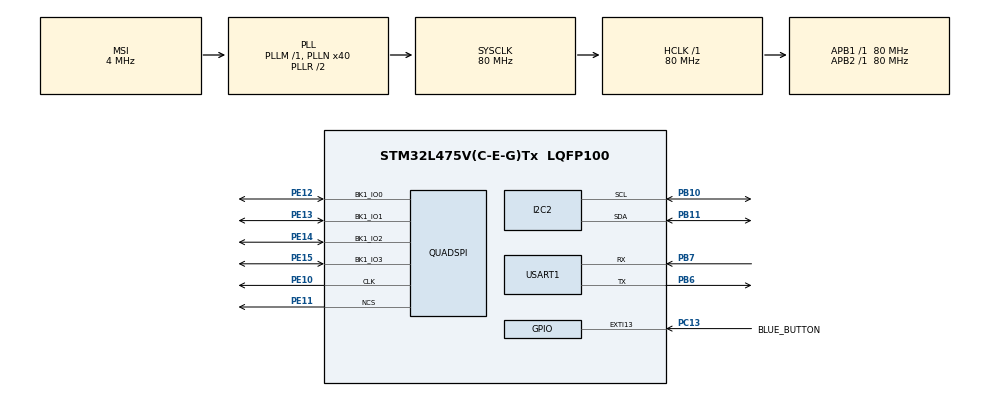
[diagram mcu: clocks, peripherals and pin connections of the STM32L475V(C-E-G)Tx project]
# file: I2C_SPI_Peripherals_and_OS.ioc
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FREERTOS.Tasks01=buttonTask,0,128,StartButtonTask,Default,NULL,Dynamic,NULL,NULL;TransmitUARTTas,0,256,StartTransmitUARTTask,Default,NULL,Dynamic,NULL,NULL;ReadSensorTask,0,256,StartReadSensorTask,Default,NULL,Dynamic,NULL,NULL
I2C2.Timing=0x10909CEC
Mcu.Family=STM32L4
Mcu.Name=STM32L475V(C-E-G)Tx
Mcu.Package=LQFP100
NVIC.EXTI15_10_IRQn=true\:5\:0\:false\:false\:true\:true\:true\:true\:true
NVIC.PriorityGroup=NVIC_PRIORITYGROUP_4
NVIC.TIM2_IRQn=true\:5\:0\:false\:false\:true\:true\:true\:true\:true
NVIC.TIM6_DAC_IRQn=true\:15\:0\:false\:false\:true\:false\:false\:true\:true
NVIC.TimeBase=TIM6_DAC_IRQn
NVIC.TimeBaseIP=TIM6
PB10.Mode=I2C
PB10.Signal=I2C2_SCL
PB11.Mode=I2C
PB11.Signal=I2C2_SDA
PB6.Mode=Asynchronous
PB6.Signal=USART1_TX
PB7.Mode=Asynchronous
PB7.Signal=USART1_RX
PC13.GPIO_Label=BLUE_BUTTON
PC13.Signal=GPXTI13
PE10.Mode=Single Bank
PE10.Signal=QUADSPI_CLK
PE11.Mode=Single Bank
PE11.Signal=QUADSPI_NCS
PE12.Mode=Single Bank
PE12.Signal=QUADSPI_BK1_IO0
PE13.Mode=Single Bank
PE13.Signal=QUADSPI_BK1_IO1
PE14.Mode=Single Bank
PE14.Signal=QUADSPI_BK1_IO2
PE15.Mode=Single Bank
PE15.Signal=QUADSPI_BK1_IO3
ProjectManager.HeapSize=0x200
ProjectManager.StackSize=0x400
ProjectManager.TargetToolchain=STM32CubeIDE
RCC.ADCFreq_Value=48000000
RCC.AHBFreq_Value=80000000
RCC.APB1Freq_Value=80000000
RCC.APB1TimFreq_Value=80000000
RCC.APB2Freq_Value=80000000
RCC.APB2TimFreq_Value=80000000
RCC.CortexFreq_Value=80000000
RCC.HCLKFreq_Value=80000000
RCC.HSE_VALUE=8000000
RCC.HSI_VALUE=16000000
RCC.LSE_VALUE=32768
RCC.MSI_VALUE=4000000
RCC.PLLN=40
RCC.PLLSAI1N=24
RCC.SYSCLKFreq_VALUE=80000000
RCC.SYSCLKSource=RCC_SYSCLKSOURCE_PLLCLK
RCC.USBFreq_Value=48000000
RCC.VCOOutputFreq_Value=160000000
TIM2.Period=2000
TIM2.Prescaler=4000
USART1.VirtualMode-Asynchronous=VM_ASYNC
VP_FREERTOS_VS_CMSIS_V1.Mode=CMSIS_V1
VP_SYS_VS_tim6.Mode=TIM6
VP_TIM2_VS_ClockSourceINT.Mode=Internal
board=B-L475E-IOT01A2

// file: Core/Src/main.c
/* USER CODE BEGIN Header */
/**
  ******************************************************************************
  * @file           : main.c
  * @brief          : Main program body
  ******************************************************************************
  * @attention
  *
  * Copyright (c) 2023 STMicroelectronics.
  * All rights reserved.
  *
  * This software is licensed under terms that can be found in the LICENSE file
  * in the root directory of this software component.
  * If no LICENSE file comes with this software, it is provided AS-IS.
  *
  ******************************************************************************
  */
/* USER CODE END Header */
#include "main.h"
#include "cmsis_os.h"

/* USER CODE BEGIN PD */
#define BLOCK_SIZE 64 * 1024 // 64 x 2^10
#define WRITE_BUFFER_SIZE 8
/* USER CODE END PD */

I2C_HandleTypeDef hi2c2;

QSPI_HandleTypeDef hqspi;

TIM_HandleTypeDef htim2;

UART_HandleTypeDef huart1;

osThreadId buttonTaskHandle;
osThreadId TransmitUARTTasHandle;
osThreadId ReadSensorTaskHandle;
/* USER CODE BEGIN PV */
char bufferUART[98];
uint8_t writeBufferNextIndex = 0;
uint8_t flashBuffer[BLOCK_SIZE]; // stores 1 block which is 64KB

enum ButtonStates
{
	NOT_PRESSED,
	PRESSED
};

enum ProgramStates
{
	TSENSOR,
	MAGNETO,
	PSENSOR,
	GYRO,
	STATISTIC,
	NOT_PRINTING
};

typedef struct
{
	uint32_t numerSample;
	float mean;
	float variance;
} Statistic_float;

typedef struct
{
	uint32_t numerSample;
	int16_t mean;
	int16_t variance;
} Statistic_int16;

typedef struct {
	uint32_t tsensor;
	uint32_t psensor;
	struct MagnetoAddresses {
		uint32_t x;
		uint32_t y;
		uint32_t z;
	}magneto;
	struct GyroAddresses {
		uint32_t x;
		uint32_t y;
		uint32_t z;
	}gyro;
} FlashSensorAddresses;

typedef struct {
	float tsensor[WRITE_BUFFER_SIZE];
	float psensor[WRITE_BUFFER_SIZE];
	struct MagnetoData {
		int16_t x[WRITE_BUFFER_SIZE];
		int16_t y[WRITE_BUFFER_SIZE];
		int16_t z[WRITE_BUFFER_SIZE];
	}magneto;
	struct GyroData {
		float x[WRITE_BUFFER_SIZE];
		float y[WRITE_BUFFER_SIZE];
		float z[WRITE_BUFFER_SIZE];
	}gyro;
} SensorData;

const FlashSensorAddresses FlashBlockStart = {
		.psensor = BLOCK_SIZE * 0,
		.tsensor = BLOCK_SIZE * 1,
		.gyro = {
				.x = BLOCK_SIZE * 2,
				.y = BLOCK_SIZE * 3,
				.z = BLOCK_SIZE * 4,
		},
		.magneto = {
				.x = BLOCK_SIZE * 5,
				.y = BLOCK_SIZE * 6,
				.z = BLOCK_SIZE * 7,
		},
};

FlashSensorAddresses currentAddress = {
		.psensor = BLOCK_SIZE * 0,
		.tsensor = BLOCK_SIZE * 1,
		.gyro = {
				.x = BLOCK_SIZE * 2,
				.y = BLOCK_SIZE * 3,
				.z = BLOCK_SIZE * 4,
		},
		.magneto = {
				.x = BLOCK_SIZE * 5,
				.y = BLOCK_SIZE * 6,
				.z = BLOCK_SIZE * 7,
		},
};

SensorData sensorData;

enum ButtonStates buttonState = NOT_PRESSED;
enum ProgramStates programState = NOT_PRINTING;

/* USER CODE END PV */

void SystemClock_Config(void);
static void MX_GPIO_Init(void);
static void MX_USART1_UART_Init(void);
static void MX_I2C2_Init(void);
static void MX_TIM2_Init(void);
static void MX_QUADSPI_Init(void);
void StartButtonTask(void const * argument);
void StartTransmitUARTTask(void const * argument);
void StartReadSensorTask(void const * argument);

/* USER CODE BEGIN 0 */
void clearFlashBlock(uint32_t blockAddress);
void clearFlashUsed(FlashSensorAddresses sensorAddresses);
void writeBuffToFlash(uint32_t* blockAddress, uint32_t blockStart, uint8_t* writeBuffer, uint32_t size);
void readFlashBlockToBuff(uint32_t* blockAddress, uint32_t blockStart, uint8_t* readBuffer, uint32_t size);
void readSensor(SensorData* sensorData);
void printStat();
void calculateStatInt16(uint32_t *currentSensorAddress, uint32_t flashBlockStart, Statistic_int16 *statistic);
void calculateStatFloat(uint32_t *currentSensorAddress, uint32_t flashBlockStart, Statistic_float *statistic);

/* USER CODE END 0 */

int main(void)
{

  /* MCU Configuration--------------------------------------------------------*/

  /* Reset of all peripherals, Initializes the Flash interface and the Systick. */
  HAL_Init();

  /* Configure the system clock */
  SystemClock_Config();

  /* Initialize all configured peripherals */
  MX_GPIO_Init();
  MX_USART1_UART_Init();
  MX_I2C2_Init();
  MX_TIM2_Init();
  MX_QUADSPI_Init();
  /* USER CODE BEGIN 2 */
  BSP_TSENSOR_Init();
  BSP_MAGNETO_Init();
  BSP_PSENSOR_Init();
  BSP_GYRO_Init();
  BSP_QSPI_Init();
  HAL_TIM_Base_Start_IT(&htim2);
  clearFlashUsed(FlashBlockStart);

  /* USER CODE END 2 */

  /* Create the thread(s) */
  /* definition and creation of buttonTask */
  osThreadDef(buttonTask, StartButtonTask, osPriorityNormal, 0, 128);
  buttonTaskHandle = osThreadCreate(osThread(buttonTask), NULL);

  /* definition and creation of TransmitUARTTas */
  osThreadDef(TransmitUARTTas, StartTransmitUARTTask, osPriorityNormal, 0, 256);
  TransmitUARTTasHandle = osThreadCreate(osThread(TransmitUARTTas), NULL);

  /* definition and creation of ReadSensorTask */
  osThreadDef(ReadSensorTask, StartReadSensorTask, osPriorityNormal, 0, 256);
  ReadSensorTaskHandle = osThreadCreate(osThread(ReadSensorTask), NULL);

  /* Start scheduler */
  osKernelStart();

  /* We should never get here as control is now taken by the scheduler */
  /* Infinite loop */
  while (1)
  {

  }
}

void SystemClock_Config(void)
{
  RCC_OscInitTypeDef RCC_OscInitStruct = {0};
  RCC_ClkInitTypeDef RCC_ClkInitStruct = {0};

  /** Configure the main internal regulator output voltage
  */
  if (HAL_PWREx_ControlVoltageScaling(PWR_REGULATOR_VOLTAGE_SCALE1) != HAL_OK)
  {
    Error_Handler();
  }

  /** Initializes the RCC Oscillators according to the specified parameters
  * in the RCC_OscInitTypeDef structure.
  */
  RCC_OscInitStruct.OscillatorType = RCC_OSCILLATORTYPE_MSI;
  RCC_OscInitStruct.MSIState = RCC_MSI_ON;
  RCC_OscInitStruct.MSICalibrationValue = 0;
  RCC_OscInitStruct.MSIClockRange = RCC_MSIRANGE_6;
  RCC_OscInitStruct.PLL.PLLState = RCC_PLL_ON;
  RCC_OscInitStruct.PLL.PLLSource = RCC_PLLSOURCE_MSI;
  RCC_OscInitStruct.PLL.PLLM = 1;
  RCC_OscInitStruct.PLL.PLLN = 40;
  RCC_OscInitStruct.PLL.PLLP = RCC_PLLP_DIV7;
  RCC_OscInitStruct.PLL.PLLQ = RCC_PLLQ_DIV2;
  RCC_OscInitStruct.PLL.PLLR = RCC_PLLR_DIV2;
  if (HAL_RCC_OscConfig(&RCC_OscInitStruct) != HAL_OK)
  {
    Error_Handler();
  }

  /** Initializes the CPU, AHB and APB buses clocks
  */
  RCC_ClkInitStruct.ClockType = RCC_CLOCKTYPE_HCLK|RCC_CLOCKTYPE_SYSCLK
                              |RCC_CLOCKTYPE_PCLK1|RCC_CLOCKTYPE_PCLK2;
  RCC_ClkInitStruct.SYSCLKSource = RCC_SYSCLKSOURCE_PLLCLK;
  RCC_ClkInitStruct.AHBCLKDivider = RCC_SYSCLK_DIV1;
  RCC_ClkInitStruct.APB1CLKDivider = RCC_HCLK_DIV1;
  RCC_ClkInitStruct.APB2CLKDivider = RCC_HCLK_DIV1;

  if (HAL_RCC_ClockConfig(&RCC_ClkInitStruct, FLASH_LATENCY_4) != HAL_OK)
  {
    Error_Handler();
  }
}

static void MX_I2C2_Init(void)
{

  hi2c2.Instance = I2C2;
  hi2c2.Init.Timing = 0x10909CEC;
  hi2c2.Init.OwnAddress1 = 0;
  hi2c2.Init.AddressingMode = I2C_ADDRESSINGMODE_7BIT;
  hi2c2.Init.DualAddressMode = I2C_DUALADDRESS_DISABLE;
  hi2c2.Init.OwnAddress2 = 0;
  hi2c2.Init.OwnAddress2Masks = I2C_OA2_NOMASK;
  hi2c2.Init.GeneralCallMode = I2C_GENERALCALL_DISABLE;
  hi2c2.Init.NoStretchMode = I2C_NOSTRETCH_DISABLE;
  if (HAL_I2C_Init(&hi2c2) != HAL_OK)
  {
    Error_Handler();
  }

  /** Configure Analogue filter
  */
  if (HAL_I2CEx_ConfigAnalogFilter(&hi2c2, I2C_ANALOGFILTER_ENABLE) != HAL_OK)
  {
    Error_Handler();
  }

  /** Configure Digital filter
  */
  if (HAL_I2CEx_ConfigDigitalFilter(&hi2c2, 0) != HAL_OK)
  {
    Error_Handler();
  }

}

static void MX_QUADSPI_Init(void)
{

  /* QUADSPI parameter configuration*/
  hqspi.Instance = QUADSPI;
  hqspi.Init.ClockPrescaler = 255;
  hqspi.Init.FifoThreshold = 1;
  hqspi.Init.SampleShifting = QSPI_SAMPLE_SHIFTING_NONE;
  hqspi.Init.FlashSize = 1;
  hqspi.Init.ChipSelectHighTime = QSPI_CS_HIGH_TIME_1_CYCLE;
  hqspi.Init.ClockMode = QSPI_CLOCK_MODE_0;
  if (HAL_QSPI_Init(&hqspi) != HAL_OK)
  {
    Error_Handler();
  }

}

static void MX_TIM2_Init(void)
{

  TIM_ClockConfigTypeDef sClockSourceConfig = {0};
  TIM_MasterConfigTypeDef sMasterConfig = {0};

  htim2.Instance = TIM2;
  htim2.Init.Prescaler = 4000;
  htim2.Init.CounterMode = TIM_COUNTERMODE_UP;
  htim2.Init.Period = 2000;
  htim2.Init.ClockDivision = TIM_CLOCKDIVISION_DIV1;
  htim2.Init.AutoReloadPreload = TIM_AUTORELOAD_PRELOAD_DISABLE;
  if (HAL_TIM_Base_Init(&htim2) != HAL_OK)
  {
    Error_Handler();
  }
  sClockSourceConfig.ClockSource = TIM_CLOCKSOURCE_INTERNAL;
  if (HAL_TIM_ConfigClockSource(&htim2, &sClockSourceConfig) != HAL_OK)
  {
    Error_Handler();
  }
  sMasterConfig.MasterOutputTrigger = TIM_TRGO_RESET;
  sMasterConfig.MasterSlaveMode = TIM_MASTERSLAVEMODE_DISABLE;
  if (HAL_TIMEx_MasterConfigSynchronization(&htim2, &sMasterConfig) != HAL_OK)
  {
    Error_Handler();
  }

}

static void MX_USART1_UART_Init(void)
{

  huart1.Instance = USART1;
  huart1.Init.BaudRate = 115200;
  huart1.Init.WordLength = UART_WORDLENGTH_8B;
  huart1.Init.StopBits = UART_STOPBITS_1;
  huart1.Init.Parity = UART_PARITY_NONE;
  huart1.Init.Mode = UART_MODE_TX_RX;
  huart1.Init.HwFlowCtl = UART_HWCONTROL_NONE;
  huart1.Init.OverSampling = UART_OVERSAMPLING_16;
  huart1.Init.OneBitSampling = UART_ONE_BIT_SAMPLE_DISABLE;
  huart1.AdvancedInit.AdvFeatureInit = UART_ADVFEATURE_NO_INIT;
  if (HAL_UART_Init(&huart1) != HAL_OK)
  {
    Error_Handler();
  }

}

static void MX_GPIO_Init(void)
{
  GPIO_InitTypeDef GPIO_InitStruct = {0};

  /* GPIO Ports Clock Enable */
  __HAL_RCC_GPIOC_CLK_ENABLE();
  __HAL_RCC_GPIOE_CLK_ENABLE();
  __HAL_RCC_GPIOB_CLK_ENABLE();

  /*Configure GPIO pin : BLUE_BUTTON_Pin */
  GPIO_InitStruct.Pin = BLUE_BUTTON_Pin;
  GPIO_InitStruct.Mode = GPIO_MODE_IT_RISING;
  GPIO_InitStruct.Pull = GPIO_NOPULL;
  HAL_GPIO_Init(BLUE_BUTTON_GPIO_Port, &GPIO_InitStruct);

  /* EXTI interrupt init*/
  HAL_NVIC_SetPriority(EXTI15_10_IRQn, 5, 0);
  HAL_NVIC_EnableIRQ(EXTI15_10_IRQn);

}

/* USER CODE BEGIN 4 */

/**
 * @overwrite
 * @brief interrupt service routine for GPIO
 */
void HAL_GPIO_EXTI_Callback(uint16_t GPIO_Pin)
{
	if (GPIO_Pin==BLUE_BUTTON_Pin)
	{
		buttonState = PRESSED;
	}
}

void clearFlashBlock(uint32_t flashBlockStart)
{
	if (BSP_QSPI_Erase_Block(flashBlockStart) != QSPI_OK)
	{
		Error_Handler();
	}
}

void clearFlashUsed(FlashSensorAddresses sensorAddresses)
{
	clearFlashBlock(sensorAddresses.gyro.x);
	clearFlashBlock(sensorAddresses.gyro.y);
	clearFlashBlock(sensorAddresses.gyro.z);
	clearFlashBlock(sensorAddresses.magneto.x);
	clearFlashBlock(sensorAddresses.magneto.y);
	clearFlashBlock(sensorAddresses.magneto.z);
	clearFlashBlock(sensorAddresses.psensor);
	clearFlashBlock(sensorAddresses.tsensor);
}

void writeBuffToFlash(uint32_t* blockAddress, uint32_t blockStart, uint8_t* writeBuffer, uint32_t size)
{
	if ((*blockAddress - blockStart) >= BLOCK_SIZE)
	{
		clearFlashBlock(blockStart);
		*blockAddress = blockStart;
	}

	if (BSP_QSPI_Write(writeBuffer, *blockAddress, size) != QSPI_OK)
	{
		Error_Handler();
	}
	*blockAddress += size;

}

void readFlashBlockToBuff(uint32_t* blockAddress, uint32_t blockStart, uint8_t* readBuffer, uint32_t size)
{
	uint8_t exitCode = BSP_QSPI_Read(readBuffer, blockStart, size);
	if (exitCode != QSPI_OK){
		Error_Handler();
	}
	*blockAddress = blockStart;
	clearFlashBlock(blockStart);
}

void readSensor(SensorData* sensorData)
{
	if (writeBufferNextIndex == WRITE_BUFFER_SIZE) {
		writeBufferNextIndex = 0;
	}

    sensorData->tsensor[writeBufferNextIndex] = BSP_TSENSOR_ReadTemp();

    int16_t magneto[3];
    BSP_MAGNETO_GetXYZ(magneto);
    sensorData->magneto.x[writeBufferNextIndex] = magneto[0];
    sensorData->magneto.y[writeBufferNextIndex] = magneto[1];
    sensorData->magneto.z[writeBufferNextIndex] = magneto[2];

    sensorData->psensor[writeBufferNextIndex] = BSP_PSENSOR_ReadPressure();

    float gyro[3];
    BSP_GYRO_GetXYZ(gyro);
    sensorData->gyro.x[writeBufferNextIndex] = gyro[0];
    sensorData->gyro.y[writeBufferNextIndex] = gyro[1];
    sensorData->gyro.z[writeBufferNextIndex] = gyro[2];

    writeBufferNextIndex++;
}

void printStat()
{

	Statistic_float statisticF;
	Statistic_int16 statisticI;

	// temp print calc
	calculateStatFloat(&(currentAddress.tsensor), FlashBlockStart.tsensor, &statisticF);
	memset(bufferUART, 0, sizeof(bufferUART)/sizeof(bufferUART[0]));
	sprintf(bufferUART, "temp: %ld, %.4f, %.10f\r\n", statisticF.numerSample, statisticF.mean, statisticF.variance);
	HAL_UART_Transmit(&huart1, (uint8_t*)bufferUART, sizeof(bufferUART)/sizeof(bufferUART[0]), 1000);

	// print magne
	calculateStatInt16(&(currentAddress.magneto.x), FlashBlockStart.magneto.x, &statisticI);
	memset(bufferUART, 0, sizeof(bufferUART)/sizeof(bufferUART[0]));
	sprintf(bufferUART, "magne.x: %ld, %d, %d\r\n", statisticI.numerSample, statisticI.mean, statisticI.variance);
	HAL_UART_Transmit(&huart1, (uint8_t*)bufferUART, sizeof(bufferUART)/sizeof(bufferUART[0]), 1000);

	calculateStatInt16(&(currentAddress.magneto.y), FlashBlockStart.magneto.y, &statisticI);
	memset(bufferUART, 0, sizeof(bufferUART)/sizeof(bufferUART[0]));
	sprintf(bufferUART, "magne.y: %ld, %d, %d\r\n", statisticI.numerSample, statisticI.mean, statisticI.variance);
	HAL_UART_Transmit(&huart1, (uint8_t*)bufferUART, sizeof(bufferUART)/sizeof(bufferUART[0]), 1000);

	calculateStatInt16(&(currentAddress.magneto.z), FlashBlockStart.magneto.z, &statisticI);
	memset(bufferUART, 0, sizeof(bufferUART)/sizeof(bufferUART[0]));
	sprintf(bufferUART, "magne.z: %ld, %d, %d\r\n", statisticI.numerSample, statisticI.mean, statisticI.variance);
	HAL_UART_Transmit(&huart1, (uint8_t*)bufferUART, sizeof(bufferUART)/sizeof(bufferUART[0]), 1000);

	// print psensor
	calculateStatFloat(&(currentAddress.psensor), FlashBlockStart.psensor, &statisticF);
	memset(bufferUART, 0, sizeof(bufferUART)/sizeof(bufferUART[0]));
	sprintf(bufferUART, "pres: %ld, %.4f, %f\r\n", statisticF.numerSample, statisticF.mean, statisticF.variance);
	HAL_UART_Transmit(&huart1, (uint8_t*)bufferUART, sizeof(bufferUART)/sizeof(bufferUART[0]), 1000);

	// print gyro
	calculateStatFloat(&(currentAddress.gyro.x), FlashBlockStart.gyro.x, &statisticF);
	memset(bufferUART, 0, sizeof(bufferUART)/sizeof(bufferUART[0]));
	sprintf(bufferUART, "gyro.x: %ld, %.2f, %.2f\r\n", statisticI.numerSample, statisticF.mean, statisticF.variance);
	HAL_UART_Transmit(&huart1, (uint8_t*)bufferUART, sizeof(bufferUART)/sizeof(bufferUART[0]), 1000);

	calculateStatFloat(&(currentAddress.gyro.y), FlashBlockStart.gyro.y, &statisticF);
	memset(bufferUART, 0, sizeof(bufferUART)/sizeof(bufferUART[0]));
	sprintf(bufferUART, "gyro.y: %ld, %.2f, %.2f\r\n", statisticF.numerSample, statisticF.mean, statisticF.variance);
	HAL_UART_Transmit(&huart1, (uint8_t*)bufferUART, sizeof(bufferUART)/sizeof(bufferUART[0]), 1000);

	calculateStatFloat(&(currentAddress.gyro.z), FlashBlockStart.gyro.z, &statisticF);
	memset(bufferUART, 0, sizeof(bufferUART)/sizeof(bufferUART[0]));
	sprintf(bufferUART, "gyro.z: %ld, %.2f, %.2f\r\n", statisticI.numerSample, statisticF.mean, statisticF.variance);
	HAL_UART_Transmit(&huart1, (uint8_t*)bufferUART, sizeof(bufferUART)/sizeof(bufferUART[0]), 1000);

}

void calculateStatInt16(uint32_t *currentSensorAddress, uint32_t flashBlockStart, Statistic_int16 *statistic)
{
	const uint32_t size = (*currentSensorAddress - flashBlockStart);
	statistic->numerSample = size / sizeof(int16_t);
	readFlashBlockToBuff(currentSensorAddress, flashBlockStart, flashBuffer, size);
	arm_mean_q15((q15_t*)flashBuffer, statistic->numerSample, (q15_t*)&(statistic->mean));
	arm_var_q15((q15_t*)flashBuffer, statistic->numerSample, (q15_t*)&(statistic->variance));
}

void calculateStatFloat(uint32_t *currentSensorAddress, uint32_t flashBlockStart, Statistic_float *statistic)
{
	const uint32_t size = (*currentSensorAddress - flashBlockStart);
	statistic->numerSample = size / sizeof(float);
	readFlashBlockToBuff(currentSensorAddress, flashBlockStart, flashBuffer, size);
	arm_mean_f32((float32_t*)flashBuffer, statistic->numerSample, &(statistic->mean));
	arm_var_f32((float32_t*)flashBuffer, statistic->numerSample, &(statistic->variance));
}

/* USER CODE END 4 */

void StartButtonTask(void const * argument)
{
  /* USER CODE BEGIN 5 */
  /* Infinite loop */
  for(;;)
  {
	osDelay(500);
	if(buttonState == PRESSED){
		switch (programState) {
			case NOT_PRINTING:
				programState = TSENSOR;
				break;
			case TSENSOR:
				programState = MAGNETO;
				break;
			case MAGNETO:
				programState = PSENSOR;
				break;
			case PSENSOR:
				programState = GYRO;
				break;
			case GYRO:
				programState = STATISTIC;
				break;
			default:
				break;
		}
	}
	buttonState = NOT_PRESSED;
  }
  /* USER CODE END 5 */
}

void StartTransmitUARTTask(void const * argument)
{
  /* USER CODE BEGIN StartTransmitUARTTask */
  /* Infinite loop */
  for(;;)
  {
    osDelay(100);
    switch (programState) {
		case TSENSOR:
			memset(bufferUART, 0, sizeof(bufferUART)/sizeof(bufferUART[0]));
			sprintf(bufferUART, "temperature: %.2f\r\n", sensorData.tsensor[writeBufferNextIndex-1]);
			break;
		case MAGNETO:
			memset(bufferUART, 0, sizeof(bufferUART)/sizeof(bufferUART[0]));
			sprintf(bufferUART, "magnetic: %d, %d, %d\r\n", sensorData.magneto.x[writeBufferNextIndex-1], sensorData.magneto.y[writeBufferNextIndex-1], sensorData.magneto.z[writeBufferNextIndex-1]);
			break;
		case PSENSOR:
			memset(bufferUART, 0, sizeof(bufferUART)/sizeof(bufferUART[0]));
			sprintf(bufferUART, "pressure: %.2f\r\n", sensorData.psensor[writeBufferNextIndex-1]);
			break;
		case GYRO:
			memset(bufferUART, 0, sizeof(bufferUART)/sizeof(bufferUART[0]));
			sprintf(bufferUART, "gyro: %.2f, %.2f, %.2f\r\n", sensorData.gyro.x[writeBufferNextIndex-1], sensorData.gyro.y[writeBufferNextIndex-1], sensorData.gyro.z[writeBufferNextIndex-1]);
			break;
		default:
			break;
	}
    if (programState != NOT_PRINTING && programState != STATISTIC){
    	HAL_UART_Transmit(&huart1, (uint8_t*)bufferUART, sizeof(bufferUART)/sizeof(bufferUART[0]), 1000);
    }
  }
  /* USER CODE END StartTransmitUARTTask */
}

void StartReadSensorTask(void const * argument)
{
  /* USER CODE BEGIN StartReadSensorTask */
  /* Infinite loop */
  for(;;)
  {
	osDelay(100); // 10Hz or 0.1s

	if (programState == STATISTIC){
		printStat();
		programState = NOT_PRINTING;
	}
	readSensor(&sensorData);
	if(writeBufferNextIndex == WRITE_BUFFER_SIZE){
		writeBuffToFlash(&(currentAddress.tsensor), FlashBlockStart.tsensor, (uint8_t*)sensorData.tsensor, sizeof(sensorData.tsensor));
		writeBuffToFlash(&(currentAddress.magneto.x), FlashBlockStart.magneto.x, (uint8_t*)sensorData.magneto.x, sizeof(sensorData.magneto.x));
		writeBuffToFlash(&(currentAddress.magneto.y), FlashBlockStart.magneto.y, (uint8_t*)sensorData.magneto.y, sizeof(sensorData.magneto.y));
		writeBuffToFlash(&(currentAddress.magneto.z), FlashBlockStart.magneto.z, (uint8_t*)sensorData.magneto.z, sizeof(sensorData.magneto.z));
		writeBuffToFlash(&(currentAddress.psensor), FlashBlockStart.psensor, (uint8_t*)sensorData.psensor, sizeof(sensorData.psensor));
		writeBuffToFlash(&(currentAddress.gyro.x), FlashBlockStart.gyro.x, (uint8_t*)sensorData.gyro.x, sizeof(sensorData.gyro.x));
		writeBuffToFlash(&(currentAddress.gyro.y), FlashBlockStart.gyro.y, (uint8_t*)sensorData.gyro.y, sizeof(sensorData.gyro.y));
		writeBuffToFlash(&(currentAddress.gyro.z), FlashBlockStart.gyro.z, (uint8_t*)sensorData.gyro.z, sizeof(sensorData.gyro.z));
	}
  }
  /* USER CODE END StartReadSensorTask */
}

void HAL_TIM_PeriodElapsedCallback(TIM_HandleTypeDef *htim)
{
  if (htim->Instance == TIM6) {
    HAL_IncTick();
  }
}

void Error_Handler(void)
{
  __disable_irq();
  while (1)
  {
  }
}
